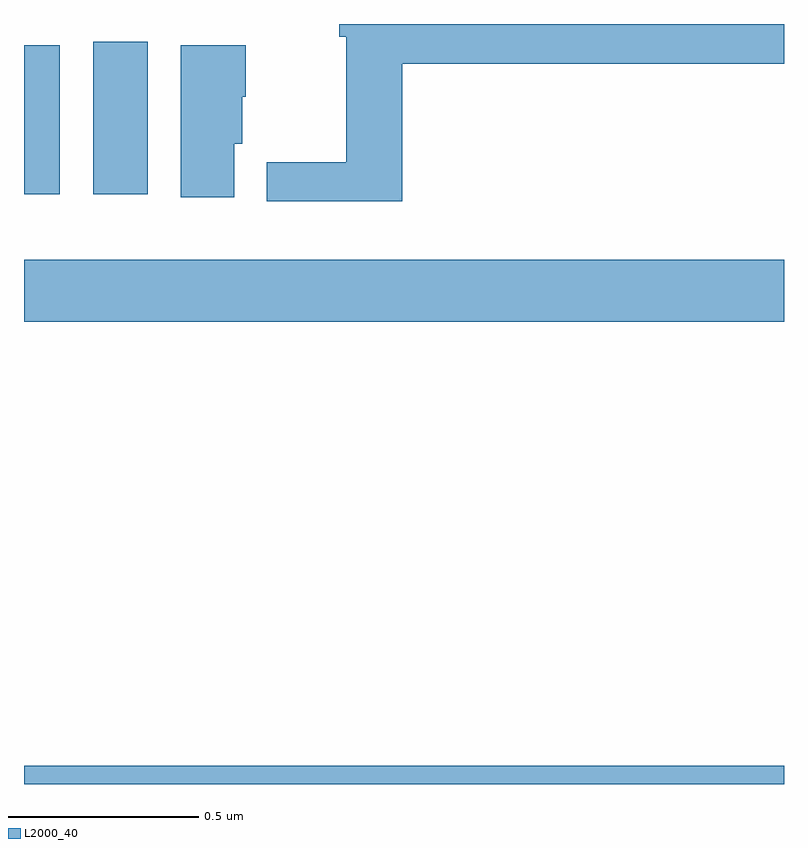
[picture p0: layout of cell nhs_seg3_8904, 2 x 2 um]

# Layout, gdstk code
import gdstk
lib = gdstk.Library(unit=1e-6, precision=1e-09)
def R(c, l, rs):  # rectangles x0, y0, x1, y1
    for r in rs: c.add(gdstk.rectangle(r[:2], r[2:], *l))
def P(c, l, *ps):  # polygons
    for p in ps: c.add(gdstk.Polygon(p, *l))
L2000_40 = (2000, 40)

nhs_seg3_8904 = lib.new_cell('nhs_seg3_8904')
R(nhs_seg3_8904, L2000_40, [(222,666.4,224,666.448), (222,667.616,224,667.78), (222,667.952,222.094,668.344), (222.182,667.952,222.325,668.353)])
P(nhs_seg3_8904, L2000_40, [(222.995,668.296),(224,668.296),(224,668.4),(222.829,668.4),(222.829,668.366),(222.848,668.366),(222.848,668.036),(222.639,668.036),(222.639,667.934),(222.995,667.934)],
  [(222.553,668.085),(222.574,668.085),(222.574,668.208),(222.583,668.208),(222.583,668.344),(222.413,668.344),(222.413,667.944),(222.553,667.944)])

lib.write_gds('nhs_seg3_8904.gds')
